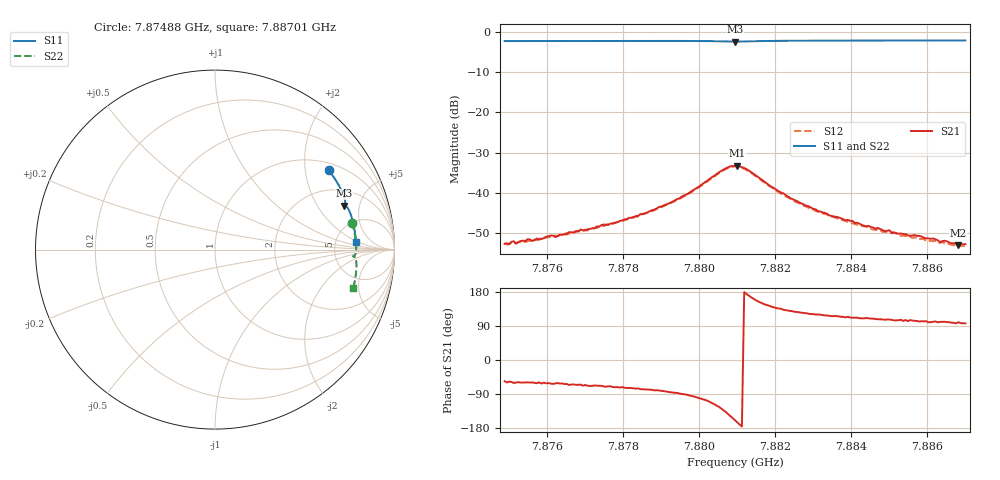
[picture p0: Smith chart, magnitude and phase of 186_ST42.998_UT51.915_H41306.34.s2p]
#  HZ  S  DB  R  50.00
! Rohde & Schwarz Vector Network Analyzer
! Rohde-Schwarz,ZNB20-2Port,1311601062101988,3.16
! Created: UTC 1/12/2023, 6:43:11 PM
! freq[Hz]  db:S11  ang:S11  db:S21  ang:S21  db:S12  ang:S12  db:S22  ang:S22
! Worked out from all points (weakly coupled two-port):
!   201 points, 7.87488 GHz to 7.88701 GHz, reference 50 ohm
!   highest |S21| = -33.28 dB at 7.881 GHz (marker M1); lowest = -53.0 dB at 7.88683 GHz (marker M2)
!   lowest |S11| = -2.4 dB at 7.88094 GHz (marker M3), VSWR 7.38, Z = 152 + j178 ohm
!   |S11| at or under -10 dB: nowhere
!   |S22| runs from -2.3 to -1.9 dB; largest |S21 - S12| = 0.0014
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7.874879e9  -2.24 34.8  -52.70 -56.0  -52.62 -59.2  -2.18 10.9
7.875182e9  -2.23 34.0  -52.67 -59.4  -52.55 -60.4  -2.17 10.2
7.875485e9  -2.23 33.1  -51.54 -59.0  -52.05 -64.0  -2.16 9.4
7.875607e9  -2.22 32.8  -52.02 -59.2  -51.97 -62.9  -2.16 9.2
7.876092e9  -2.22 31.5  -50.64 -62.1  -51.05 -64.5  -2.14 8.0
7.876213e9  -2.22 31.2  -51.04 -61.9  -50.64 -67.0  -2.13 7.7
7.876941e9  -2.20 29.2  -49.36 -67.9  -49.49 -69.6  -2.12 6.0
7.878397e9  -2.19 25.2  -45.74 -75.0  -45.88 -79.5  -2.08 2.6
7.878943e9  -2.18 23.6  -43.52 -80.4  -43.77 -84.1  -2.07 1.3
7.87967e9  -2.20 21.5  -40.42 -91.5  -40.53 -95.8  -2.08 -0.5
7.880702e9  -2.34 18.9  -33.90 -137.1  -34.06 -140.5  -2.24 -2.8
7.880944e9  -2.37 18.8  -33.29 -158.9  -33.45 -162.3  -2.27 -2.8
7.881005e9  -2.37 18.8  -33.28 -164.7  -33.48 -168.0  -2.27 -2.7
7.881369e9  -2.29 18.4  -34.86 165.7  -35.03 162.0  -2.18 -2.9
7.882157e9  -2.17 16.2  -39.94 135.1  -40.26 130.8  -2.05 -4.7
7.883006e9  -2.13 13.9  -44.02 120.9  -44.18 117.5  -2.00 -6.7
7.884401e9  -2.11 10.1  -48.36 110.9  -48.37 107.0  -1.98 -9.9
7.885008e9  -2.11 8.5  -49.31 106.8  -49.86 104.3  -1.96 -11.2
7.885069e9  -2.10 8.3  -50.07 106.0  -49.76 102.3  -1.97 -11.4
7.885796e9  -2.09 6.4  -50.71 101.6  -51.61 100.5  -1.96 -12.9
7.886828e9  -2.08 3.7  -53.04 99.8  -53.11 95.1  -1.94 -15.2
7.88701e9  -2.08 3.3  -52.78 96.6  -53.11 94.9  -1.94 -15.6
